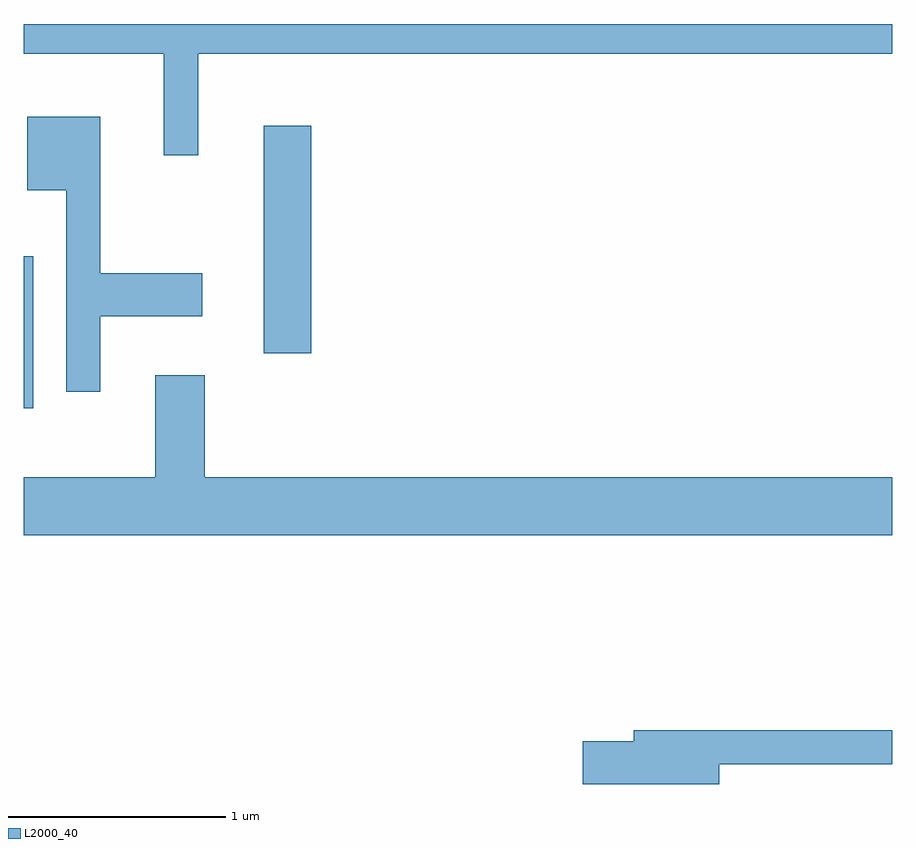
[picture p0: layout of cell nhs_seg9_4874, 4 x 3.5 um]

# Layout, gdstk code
import gdstk
lib = gdstk.Library(unit=1e-6, precision=1e-09)
def R(c, l, rs):  # rectangles x0, y0, x1, y1
    for r in rs: c.add(gdstk.rectangle(r[:2], r[2:], *l))
def P(c, l, *ps):  # polygons
    for p in ps: c.add(gdstk.Polygon(p, *l))
L2000_40 = (2000, 40)

nhs_seg9_4874 = lib.new_cell('nhs_seg9_4874')
R(nhs_seg9_4874, L2000_40, [(329.611,1954.661,329.654,1955.363), (330.716,1954.916,330.934,1955.964)])
P(nhs_seg9_4874, L2000_40, [(330.414,1956.296),(333.611,1956.296),(333.611,1956.432),(329.611,1956.432),(329.611,1956.296),(330.256,1956.296),(330.256,1955.828),(330.414,1955.828)],
  [(329.964,1955.086),(330.434,1955.086),(330.434,1955.284),(329.964,1955.284),(329.964,1956.004),(329.626,1956.004),(329.626,1955.666),(329.806,1955.666),(329.806,1954.738),(329.964,1954.738)],
  [(333.611,1954.344),(330.444,1954.344),(330.444,1954.814),(330.216,1954.814),(330.216,1954.344),(329.611,1954.344),(329.611,1954.076),(333.611,1954.076)],
  [(332.814,1953.021),(333.611,1953.021),(333.611,1953.179),(332.421,1953.179),(332.421,1953.129),(332.186,1953.129),(332.186,1952.931),(332.814,1952.931)])

lib.write_gds('nhs_seg9_4874.gds')
